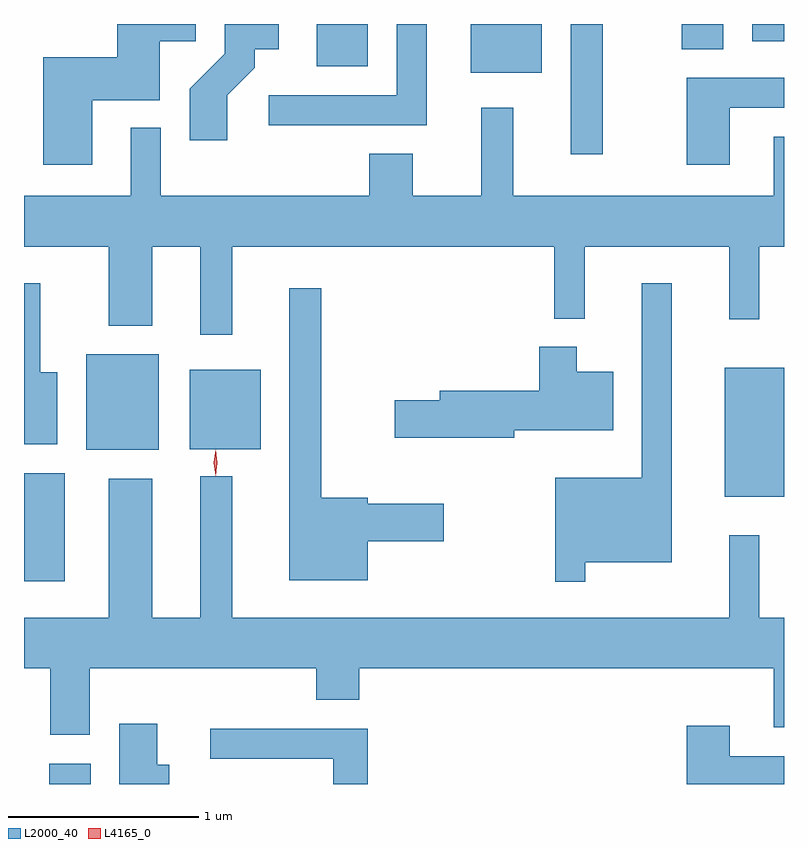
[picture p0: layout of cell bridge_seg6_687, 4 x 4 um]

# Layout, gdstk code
import gdstk
lib = gdstk.Library(unit=1e-6, precision=1e-09)
def R(c, l, rs):  # rectangles x0, y0, x1, y1
    for r in rs: c.add(gdstk.rectangle(r[:2], r[2:], *l))
def P(c, l, *ps):  # polygons
    for p in ps: c.add(gdstk.Polygon(p, *l))
L2000_40 = (2000, 40)
L4165_0 = (4165, 0)

bridge_seg6_687 = lib.new_cell('bridge_seg6_687')
R(bridge_seg6_687, L2000_40, [(243.046,1540.548,243.264,1540.654), (242.914,1541.616,243.129,1542.184), (246.601,1542.061,246.914,1542.739), (243.241,1542.306,243.624,1542.809), (243.786,1542.311,244.159,1542.729), (245.791,1543.863,245.959,1544.548), (245.266,1544.291,245.639,1544.548), (244.456,1544.326,244.724,1544.548), (246.376,1544.416,246.594,1544.548), (246.746,1544.456,246.914,1544.548)])
P(bridge_seg6_687, L2000_40, [(243.274,1544.146),(243.629,1544.146),(243.629,1544.456),(243.819,1544.456),(243.819,1544.548),(243.406,1544.548),(243.406,1544.374),(243.016,1544.374),(243.016,1543.806),(243.274,1543.806)],
  [(245.034,1544.548),(244.876,1544.548),(244.876,1544.174),(244.203,1544.174),(244.203,1544.016),(245.034,1544.016)],
  [(243.984,1544.174),(244.129,1544.319),(244.129,1544.416),(244.254,1544.416),(244.254,1544.548),(243.971,1544.548),(243.971,1544.392),(243.786,1544.207),(243.786,1543.936),(243.984,1543.936)],
  [(246.629,1544.106),(246.914,1544.106),(246.914,1544.264),(246.401,1544.264),(246.401,1543.806),(246.629,1543.806)],
  [(242.914,1543.376),(243.361,1543.376),(243.361,1542.961),(243.589,1542.961),(243.589,1543.376),(243.841,1543.376),(243.841,1542.913),(244.009,1542.913),(244.009,1543.376),(245.706,1543.376),(245.706,1542.998),(245.864,1542.998),(245.864,1543.376),(246.626,1543.376),(246.626,1542.993),(246.784,1542.993),(246.784,1543.376),(246.914,1543.376),(246.914,1543.954),(246.861,1543.954),(246.861,1543.644),(245.489,1543.644),(245.489,1544.108),(245.321,1544.108),(245.321,1543.644),(244.959,1543.644),(244.959,1543.864),(244.731,1543.864),(244.731,1543.644),(243.634,1543.644),(243.634,1544.003),(243.476,1544.003),(243.476,1543.644),(242.914,1543.644)],
  [(243.089,1542.714),(242.999,1542.714),(242.999,1543.184),(242.914,1543.184),(242.914,1542.336),(243.089,1542.336)],
  [(245.869,1541.716),(246.324,1541.716),(246.324,1543.183),(246.166,1543.183),(246.166,1542.159),(245.711,1542.159),(245.711,1541.613),(245.869,1541.613)],
  [(244.724,1541.826),(245.124,1541.826),(245.124,1542.024),(244.724,1542.024),(244.724,1542.054),(244.479,1542.054),(244.479,1543.158),(244.311,1543.158),(244.311,1541.621),(244.724,1541.621)],
  [(245.494,1542.411),(246.014,1542.411),(246.014,1542.719),(245.824,1542.719),(245.824,1542.849),(245.626,1542.849),(245.626,1542.619),(245.101,1542.619),(245.101,1542.569),(244.866,1542.569),(244.866,1542.371),(245.494,1542.371)],
  [(242.914,1541.156),(243.051,1541.156),(243.051,1540.806),(243.259,1540.806),(243.259,1541.156),(244.451,1541.156),(244.451,1540.991),(244.679,1540.991),(244.679,1541.156),(246.861,1541.156),(246.861,1540.846),(246.914,1540.846),(246.914,1541.424),(246.784,1541.424),(246.784,1541.858),(246.626,1541.858),(246.626,1541.424),(244.009,1541.424),(244.009,1542.168),(243.841,1542.168),(243.841,1541.424),(243.589,1541.424),(243.589,1542.154),(243.361,1542.154),(243.361,1541.424),(242.914,1541.424)],
  [(243.679,1540.649),(243.614,1540.649),(243.614,1540.864),(243.416,1540.864),(243.416,1540.548),(243.679,1540.548)],
  [(246.914,1540.694),(246.629,1540.694),(246.629,1540.854),(246.401,1540.854),(246.401,1540.548),(246.914,1540.548)],
  [(244.724,1540.839),(243.893,1540.839),(243.893,1540.681),(244.541,1540.681),(244.541,1540.548),(244.724,1540.548)])
P(bridge_seg6_687, L4165_0, [(243.922,1542.169),(243.922,1542.17),(243.912,1542.238),(243.922,1542.306),(243.922,1542.306),(243.923,1542.306),(243.932,1542.238),(243.923,1542.17)],
  [(243.922,1542.173),(243.922,1542.173),(243.912,1542.237),(243.922,1542.301),(243.922,1542.302),(243.923,1542.301),(243.932,1542.237),(243.923,1542.173)])

lib.write_gds('bridge_seg6_687.gds')
